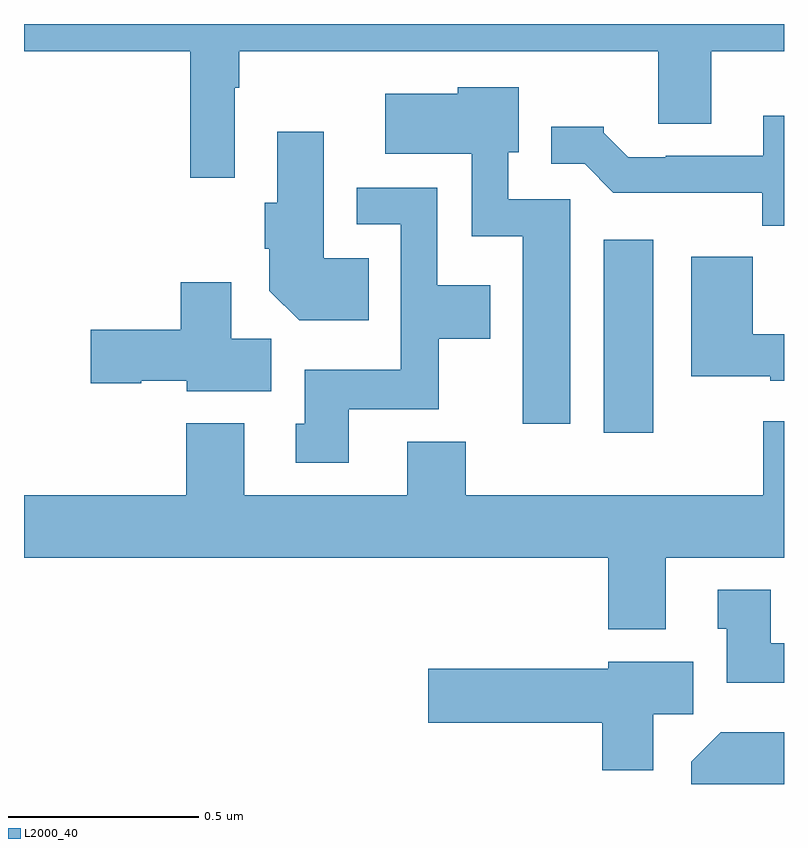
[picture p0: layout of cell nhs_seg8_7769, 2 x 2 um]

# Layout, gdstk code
import gdstk
lib = gdstk.Library(unit=1e-6, precision=1e-09)
def R(c, l, rs):  # rectangles x0, y0, x1, y1
    for r in rs: c.add(gdstk.rectangle(r[:2], r[2:], *l))
def P(c, l, *ps):  # polygons
    for p in ps: c.add(gdstk.Polygon(p, *l))
L2000_40 = (2000, 40)

nhs_seg8_7769 = lib.new_cell('nhs_seg8_7769')
R(nhs_seg8_7769, L2000_40, [(215.525,1120.824,215.656,1121.332)])
P(nhs_seg8_7769, L2000_40, [(214.554,1121.732),(214.567,1121.732),(214.567,1121.828),(215.669,1121.828),(215.669,1121.638),(215.809,1121.638),(215.809,1121.828),(216,1121.828),(216,1121.9),(214,1121.9),(214,1121.828),(214.438,1121.828),(214.438,1121.496),(214.554,1121.496)],
  [(215.437,1121.439),(215.274,1121.439),(215.274,1121.562),(215.302,1121.562),(215.302,1121.734),(215.142,1121.734),(215.142,1121.716),(214.95,1121.716),(214.95,1121.558),(215.178,1121.558),(215.178,1121.342),(215.312,1121.342),(215.312,1120.848),(215.437,1120.848)],
  [(216,1121.659),(215.945,1121.659),(215.945,1121.553),(215.689,1121.553),(215.689,1121.55),(215.59,1121.55),(215.526,1121.614),(215.526,1121.629),(215.387,1121.629),(215.387,1121.532),(215.475,1121.532),(215.551,1121.456),(215.943,1121.456),(215.943,1121.369),(216,1121.369)],
  [(214.907,1121.284),(214.789,1121.284),(214.789,1121.617),(214.667,1121.617),(214.667,1121.43),(214.634,1121.43),(214.634,1121.308),(214.646,1121.308),(214.646,1121.198),(214.724,1121.12),(214.907,1121.12)],
  [(214.855,1120.886),(215.091,1120.886),(215.091,1121.072),(215.227,1121.072),(215.227,1121.212),(215.088,1121.212),(215.088,1121.469),(214.875,1121.469),(214.875,1121.373),(214.992,1121.373),(214.992,1120.99),(214.739,1120.99),(214.739,1120.848),(214.715,1120.848),(214.715,1120.746),(214.855,1120.746)],
  [(216,1121.083),(215.918,1121.083),(215.918,1121.287),(215.756,1121.287),(215.756,1120.973),(215.964,1120.973),(215.964,1120.961),(216,1120.961)],
  [(214.651,1121.072),(214.546,1121.072),(214.546,1121.221),(214.412,1121.221),(214.412,1121.096),(214.176,1121.096),(214.176,1120.954),(214.308,1120.954),(214.308,1120.961),(214.428,1120.961),(214.428,1120.934),(214.651,1120.934)],
  [(215.689,1120.496),(216,1120.496),(216,1120.855),(215.945,1120.855),(215.945,1120.66),(215.162,1120.66),(215.162,1120.801),(215.009,1120.801),(215.009,1120.66),(214.579,1120.66),(214.579,1120.849),(214.427,1120.849),(214.427,1120.66),(214,1120.66),(214,1120.496),(215.537,1120.496),(215.537,1120.307),(215.689,1120.307)],
  [(216,1120.27),(215.965,1120.27),(215.965,1120.411),(215.825,1120.411),(215.825,1120.308),(215.849,1120.308),(215.849,1120.166),(216,1120.166)],
  [(215.656,1120.084),(215.761,1120.084),(215.761,1120.222),(215.538,1120.222),(215.538,1120.203),(215.064,1120.203),(215.064,1120.061),(215.522,1120.061),(215.522,1119.936),(215.656,1119.936)],
  [(216,1120.036),(215.834,1120.036),(215.756,1119.958),(215.756,1119.9),(216,1119.9)])

lib.write_gds('nhs_seg8_7769.gds')
